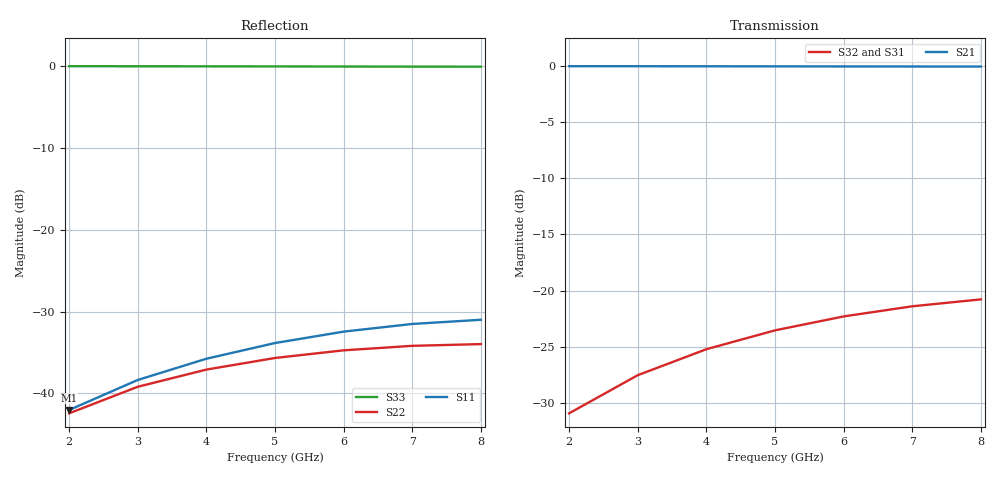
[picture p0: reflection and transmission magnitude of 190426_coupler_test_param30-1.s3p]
! Sonnet Data File
! From: emgraph Version : 16.56
! From Project: 190426_coupler_test
! Data is De-embedded
! Data File Written: 05/06/2019 15:59:44
!< HDATE 04/25/2019 10:48:44
!< MDATE 04/25/2019 10:59:35
!< PARAMS
!< tandelta = 0.0
!< t_aSi = 0.25
!< W = 10.0
!< Lcoupler = 2900.0
!< END PARAMS
# GHZ S MA R 50.0 !  non standard terminations in data
! TERM 50.00000 0.000000 50.00000 0.000000 63.84000 0.000000
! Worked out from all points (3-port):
!   7 points, 2 GHz to 8 GHz, reference 50 ohm
!   strongest paths, dB at 2 GHz, 3 GHz, 5 GHz, 7 GHz, 8 GHz:
!     S21: 0.0, 0.0, 0.0, 0.0, 0.0
!     S32: -30.9, -27.5, -23.6, -21.4, -20.8
!     S31: -31.0, -27.6, -23.7, -21.6, -21.0
!   lowest |S11| = -42.0 dB at 2 GHz (marker M1), VSWR 1.02, Z = 50.2 + j0.756 ohm
!   |S11| at or under -10 dB: start of sweep to end of sweep
2  0.007911 72.0  0.9996 -21.7  0.02826 46.3
   0.9996 -21.7  0.007552 69.8  0.02836 71.7
   0.02826 46.3  0.02836 71.7  0.9992 -40.7
3  0.01207 61.8  0.9991 -32.6  0.04164 24.4
   0.9991 -32.6  0.01097 59.8  0.04194 62.4
   0.04164 24.4  0.04194 62.4  0.9983 -61.1
4  0.01628 50.4  0.9984 -43.4  0.05411 2.5
   0.9984 -43.4  0.01397 49.8  0.05475 53.0
   0.05411 2.5  0.05475 53.0  0.997 -81.6
5  0.0203 38.0  0.9977 -54.3  0.06536 -19.5
   0.9977 -54.3  0.01645 39.8  0.06644 43.5
   0.06536 -19.5  0.06644 43.5  0.9956 -102.3
6  0.02384 24.6  0.9969 -65.1  0.07512 -41.5
   0.9969 -65.1  0.01832 29.9  0.07666 33.7
   0.07512 -41.5  0.07666 33.7  0.9942 -123.0
7  0.02656 10.4  0.9962 -75.9  0.08312 -63.5
   0.9962 -75.9  0.01952 20.1  0.08505 23.9
   0.08312 -63.5  0.08505 23.9  0.9929 -143.8
8  0.02817 -4.4  0.9956 -86.7  0.08913 -85.5
   0.9956 -86.7  0.02 10.3  0.09131 14.0
   0.08913 -85.5  0.09131 14.0  0.9918 -164.7
